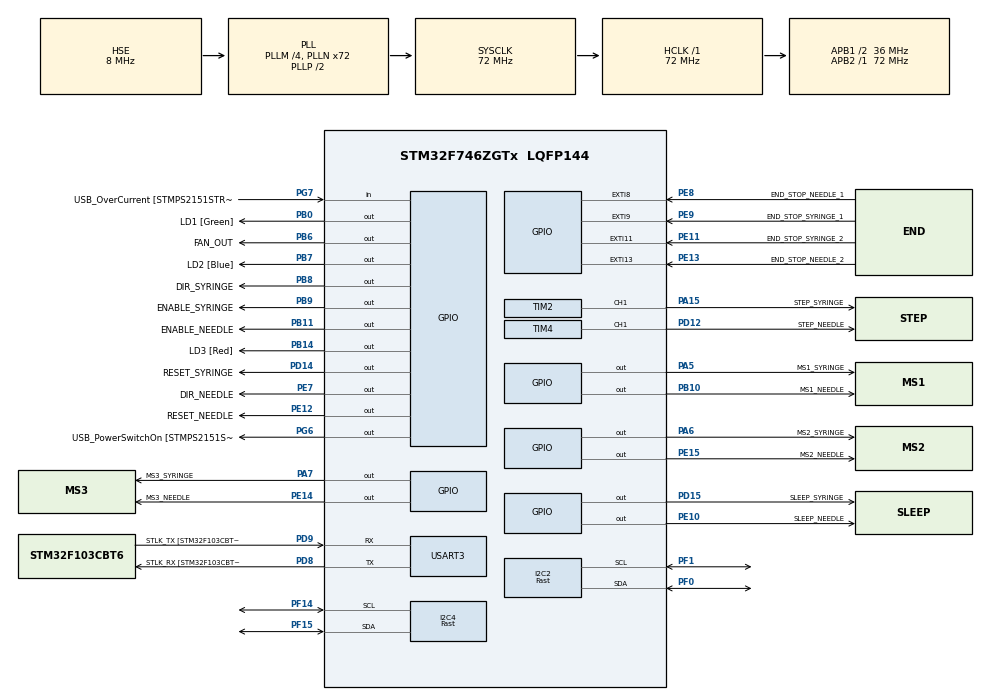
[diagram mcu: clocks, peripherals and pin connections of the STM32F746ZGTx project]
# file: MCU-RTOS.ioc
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FREERTOS.BinarySemaphores01=SyringeInfoOLEDSemaphore,Dynamic,NULL;NeedleInfoOLEDSemaphore,Dynamic,NULL;TemperatureInfoCommunicationSemaphore,Dynamic,NULL;SyringeInfoCommunicationSemaphore,Dynamic,NULL;NeedleInfoCommunicationSemaphore,Dynamic,NULL
FREERTOS.Mutexes01=MutexPrintf,Dynamic,NULL;MutexI2C2,Dynamic,NULL;MutexI2C4,Dynamic,NULL
FREERTOS.Queues01=QueueSyringeInfoOLED,4,Syringe_info,0,Dynamic,NULL,NULL;QueueSyringeInfoCommunication,2,Syringe_info,0,Dynamic,NULL,NULL;QueueNeedleInfoOLED,4,Needle_info,0,Dynamic,NULL,NULL;QueueNeedleInfoCommunication,4,Needle_info,0,Dynamic,NULL,NULL;QueueTemperatureCommunication,4,Temperature_info,0,Dynamic,NULL,NULL;QueueNeedleSetPointCommunication,4,uint16_t,0,Dynamic,NULL,NULL;QueueSyringeSetPointCommunication,4,uint16_t,0,Dynamic,NULL,NULL;QueueSyringePermission,2,uint8_t,0,Dynamic,NULL,NULL;QueueNeedlePermission,2,uint8_t,0,Dynamic,NULL,NULL;QueueCommunicationPermission,2,uint8_t,0,Dynamic,NULL,NULL;QueueSyringeSpeedRPM,2,uint16_t,0,Dynamic,NULL,NULL;QueueNeedleSpeedRPM,2,uint16_t,0,Dynamic,NULL,NULL;QueueMotorStatus,2,uint8_t,0,Dynamic,NULL,NULL
FREERTOS.Tasks01=HeartBeatTast,8,128,StartHeartBeatTast,Default,NULL,Dynamic,NULL,NULL;SyringeControlT,32,640,StartSyringeControlTask,Default,NULL,Dynamic,NULL,NULL;OLEDTask,24,512,StartOLEDTask,Default,NULL,Dynamic,NULL,NULL;NeedleControlTa,33,640,StartNeedleControlTask,Default,NULL,Dynamic,NULL,NULL;CommunicationTa,40,512,StartCommunicationTask,Default,NULL,Dynamic,NULL,NULL;TemperatureTask,25,256,StartTemperatureTask,Default,NULL,Dynamic,NULL,NULL
FREERTOS.Timers01=SyringeInfoTimerOLED,SyringeInfoTimerOLEDCallback,osTimerPeriodic,Default,NULL,Dynamic,NULL;NeedleInfoTimerOLED,NeedleInfoTimerOLEDCallback,osTimerPeriodic,Default,NULL,Dynamic,NULL;SyringeInfoTimerCommunication,SyringeInfoTimerCommunicationCallback,osTimerPeriodic,Default,NULL,Dynamic,NULL;NeedleInfoTimerCommunication,NeedleInfoTimerCommunicationCallback,osTimerPeriodic,Default,NULL,Dynamic,NULL;IDLETimeTimer,IDLETimeTimerCallback,osTimerPeriodic,Default,NULL,Dynamic,NULL;TemperatureInfoCommunicationTimer,TemperatureInfoCommunicationTimerCallback,osTimerPeriodic,Default,NULL,Dynamic,NULL
FREERTOS.configMINIMAL_STACK_SIZE=128
FREERTOS.configTOTAL_HEAP_SIZE=35000
FREERTOS.configUSE_IDLE_HOOK=1
FREERTOS.configUSE_NEWLIB_REENTRANT=1
I2C2.I2C_Speed_Mode=I2C_Fast
I2C2.Timing=0x00301739
I2C4.I2C_Speed_Mode=I2C_Fast
I2C4.Timing=0x00301739
Mcu.Family=STM32F7
Mcu.Name=STM32F746ZGTx
Mcu.Package=LQFP144
NVIC.EXTI15_10_IRQn=true\:5\:0\:false\:false\:true\:true\:true\:true\:true
NVIC.EXTI9_5_IRQn=true\:5\:0\:false\:false\:true\:true\:true\:true\:true
NVIC.PriorityGroup=NVIC_PRIORITYGROUP_4
NVIC.TIM3_IRQn=true\:5\:0\:false\:false\:true\:true\:true\:true\:true
NVIC.TIM5_IRQn=true\:5\:0\:false\:false\:true\:true\:true\:true\:true
NVIC.TIM8_TRG_COM_TIM14_IRQn=true\:15\:0\:false\:false\:true\:false\:false\:true\:true
NVIC.TimeBase=TIM8_TRG_COM_TIM14_IRQn
NVIC.TimeBaseIP=TIM14
NVIC.USART3_IRQn=true\:5\:0\:false\:false\:true\:true\:true\:true\:true
PA13.GPIO_Label=TMS
PA13.Mode=Serial_Wire
PA13.Signal=SYS_JTMS-SWDIO
PA14.GPIO_Label=TCK
PA14.Mode=Serial_Wire
PA14.Signal=SYS_JTCK-SWCLK
PA15.GPIO_Label=STEP_SYRINGE
PA15.Signal=S_TIM2_CH1_ETR
PA5.GPIO_Label=MS1_SYRINGE
PA5.GPIO_Speed=GPIO_SPEED_FREQ_HIGH
PA5.Signal=GPIO_Output
PA6.GPIO_Label=MS2_SYRINGE
PA6.GPIO_Speed=GPIO_SPEED_FREQ_HIGH
PA6.Signal=GPIO_Output
PA7.GPIO_Label=MS3_SYRINGE
PA7.GPIO_Speed=GPIO_SPEED_FREQ_HIGH
PA7.Signal=GPIO_Output
PB0.GPIO_Label=LD1 [Green]
PB0.Signal=GPIO_Output
PB10.GPIO_Label=MS1_NEEDLE
PB10.GPIO_Speed=GPIO_SPEED_FREQ_HIGH
PB10.Signal=GPIO_Output
PB11.GPIO_Label=ENABLE_NEEDLE
PB11.GPIO_Speed=GPIO_SPEED_FREQ_HIGH
PB11.Signal=GPIO_Output
PB14.GPIO_Label=LD3 [Red]
PB14.Signal=GPIO_Output
PB6.GPIO_Label=FAN_OUT
PB6.Signal=GPIO_Output
PB7.GPIO_Label=LD2 [Blue]
PB7.Signal=GPIO_Output
PB8.GPIO_Label=DIR_SYRINGE
PB8.GPIO_Speed=GPIO_SPEED_FREQ_HIGH
PB8.Signal=GPIO_Output
PB9.GPIO_Label=ENABLE_SYRINGE
PB9.GPIO_Speed=GPIO_SPEED_FREQ_HIGH
PB9.Signal=GPIO_Output
PC14/OSC32_IN.Mode=LSE-External-Oscillator
PC14/OSC32_IN.Signal=RCC_OSC32_IN
PC15/OSC32_OUT.Mode=LSE-External-Oscillator
PC15/OSC32_OUT.Signal=RCC_OSC32_OUT
PD12.GPIO_Label=STEP_NEEDLE
PD12.Signal=S_TIM4_CH1
PD14.GPIO_Label=RESET_SYRINGE
PD14.GPIO_Speed=GPIO_SPEED_FREQ_HIGH
PD14.Signal=GPIO_Output
PD15.GPIO_Label=SLEEP_SYRINGE
PD15.GPIO_Speed=GPIO_SPEED_FREQ_HIGH
PD15.Signal=GPIO_Output
PD8.GPIO_Label=STLK_RX [STM32F103CBT6_PA3]
PD8.Mode=Asynchronous
PD8.Signal=USART3_TX
PD9.GPIO_Label=STLK_TX [STM32F103CBT6_PA2]
PD9.Mode=Asynchronous
PD9.Signal=USART3_RX
PE10.GPIO_Label=SLEEP_NEEDLE
PE10.GPIO_Speed=GPIO_SPEED_FREQ_HIGH
PE10.Signal=GPIO_Output
PE11.GPIO_Label=END_STOP_SYRINGE_2
PE11.GPIO_ModeDefaultEXTI=GPIO_MODE_IT_FALLING
PE11.GPIO_PuPd=GPIO_PULLUP
PE11.Signal=GPXTI11
PE12.GPIO_Label=RESET_NEEDLE
PE12.GPIO_Speed=GPIO_SPEED_FREQ_HIGH
PE12.Signal=GPIO_Output
PE13.GPIO_Label=END_STOP_NEEDLE_2
PE13.GPIO_ModeDefaultEXTI=GPIO_MODE_IT_FALLING
PE13.GPIO_PuPd=GPIO_PULLUP
PE13.Signal=GPXTI13
PE14.GPIO_Label=MS3_NEEDLE
PE14.GPIO_Speed=GPIO_SPEED_FREQ_HIGH
PE14.Signal=GPIO_Output
PE15.GPIO_Label=MS2_NEEDLE
PE15.GPIO_Speed=GPIO_SPEED_FREQ_HIGH
PE15.Signal=GPIO_Output
PE7.GPIO_Label=DIR_NEEDLE
PE7.GPIO_Speed=GPIO_SPEED_FREQ_HIGH
PE7.Signal=GPIO_Output
PE8.GPIO_Label=END_STOP_NEEDLE_1
PE8.GPIO_ModeDefaultEXTI=GPIO_MODE_IT_FALLING
PE8.GPIO_PuPd=GPIO_PULLUP
PE8.Signal=GPXTI8
PE9.GPIO_Label=END_STOP_SYRINGE_1
PE9.GPIO_ModeDefaultEXTI=GPIO_MODE_IT_FALLING
PE9.GPIO_PuPd=GPIO_PULLUP
PE9.Signal=GPXTI9
PF0.Mode=I2C
PF0.Signal=I2C2_SDA
PF1.Mode=I2C
PF1.Signal=I2C2_SCL
PF14.Mode=I2C
PF14.Signal=I2C4_SCL
PF15.Mode=I2C
PF15.Signal=I2C4_SDA
PG6.GPIO_Label=USB_PowerSwitchOn [STMPS2151STR_EN]
PG6.Signal=GPIO_Output
PG7.GPIO_Label=USB_OverCurrent [STMPS2151STR_FAULT]
PG7.Signal=GPIO_Input
PH0/OSC_IN.GPIO_Label=MCO [STM32F103CBT6_PA8]
PH0/OSC_IN.Mode=HSE-External-Clock-Source
PH0/OSC_IN.Signal=RCC_OSC_IN
PH1/OSC_OUT.Mode=HSE-External-Clock-Source
PH1/OSC_OUT.Signal=RCC_OSC_OUT
ProjectManager.HeapSize=0x200
ProjectManager.StackSize=0x400
ProjectManager.TargetToolchain=STM32CubeIDE
RCC.48MHZClocksFreq_Value=24000000
RCC.AHBFreq_Value=72000000
RCC.APB1CLKDivider=RCC_HCLK_DIV2
RCC.APB1Freq_Value=36000000
RCC.APB1TimFreq_Value=72000000
RCC.APB2Freq_Value=72000000
RCC.APB2TimFreq_Value=72000000
RCC.CortexFreq_Value=72000000
RCC.HCLKFreq_Value=72000000
RCC.HSE_VALUE=8000000
RCC.HSI_VALUE=16000000
RCC.PLLM=4
RCC.PLLMUL=RCC_PLL_MUL9
RCC.PLLN=72
RCC.PLLQ=3
RCC.PLLSourceVirtual=RCC_PLLSOURCE_HSE
RCC.PRESCALERUSB=RCC_USBCLKSOURCE_PLL_DIV1_5
RCC.SYSCLKFreq_VALUE=72000000
RCC.SYSCLKSource=RCC_SYSCLKSOURCE_PLLCLK
RCC.SYSCLKSourceVirtual=RCC_SYSCLKSOURCE_PLLCLK
RCC.USBFreq_Value=48000000
RCC.VCOOutputFreq_Value=144000000
SH.S_TIM2_CH1_ETR.0=TIM2_CH1,PWM Generation1 CH1
SH.S_TIM4_CH1.0=TIM4_CH1,PWM Generation1 CH1
TIM2.Channel-PWM\ Generation1\ CH1=TIM_CHANNEL_1
TIM2.Period=999
TIM2.Prescaler=71
TIM2.Pulse-PWM\ Generation1\ CH1=499
TIM2.TIM_MasterOutputTrigger=TIM_TRGO_UPDATE
TIM3.Period=0
TIM4.Channel-PWM\ Generation1\ CH1=TIM_CHANNEL_1
TIM4.Period=999
TIM4.Prescaler=71
TIM4.Pulse-PWM\ Generation1\ CH1=499
TIM4.TIM_MasterOutputTrigger=TIM_TRGO_UPDATE
TIM5.Period=0
USART3.VirtualMode-Asynchronous=VM_ASYNC
VP_FREERTOS_VS_CMSIS_V2.Mode=CMSIS_V2
VP_SYS_VS_tim14.Mode=TIM14
VP_TIM2_VS_ClockSourceINT.Mode=Internal
VP_TIM3_VS_ClockSourceITR.Mode=TriggerSource_ITR1
VP_TIM3_VS_ControllerModeClock.Mode=Clock Mode
VP_TIM4_VS_ClockSourceINT.Mode=Internal
VP_TIM5_VS_ClockSourceITR.Mode=TriggerSource_ITR2
VP_TIM5_VS_ControllerModeClock.Mode=Clock Mode
board=NUCLEO-F746ZG

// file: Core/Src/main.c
/* USER CODE BEGIN Header */
/**
  ******************************************************************************
  * @file           : main.c
  * @brief          : Main program body
  ******************************************************************************
  * @attention
  *
  * Copyright (c) 2022 STMicroelectronics.
  * All rights reserved.
  *
  * This software is licensed under terms that can be found in the LICENSE file
  * in the root directory of this software component.
  * If no LICENSE file comes with this software, it is provided AS-IS.
  *
  ******************************************************************************
  */
/* USER CODE END Header */
#include "main.h"
#include "cmsis_os.h"
#include "i2c.h"
#include "tim.h"
#include "usart.h"
#include "gpio.h"

void SystemClock_Config(void);
void MX_FREERTOS_Init(void);

int main(void)
{

  /* MCU Configuration--------------------------------------------------------*/

  /* Reset of all peripherals, Initializes the Flash interface and the Systick. */
  HAL_Init();

  /* Configure the system clock */
  SystemClock_Config();

  /* Initialize all configured peripherals */
  MX_GPIO_Init();
  MX_USART3_UART_Init();
  MX_I2C2_Init();
  MX_I2C4_Init();
  MX_TIM2_Init();
  MX_TIM3_Init();
  MX_TIM4_Init();
  MX_TIM5_Init();

  /* Init scheduler */
  osKernelInitialize();  /* Call init function for freertos objects (in freertos.c) */
  MX_FREERTOS_Init();

  /* Start scheduler */
  osKernelStart();

  /* We should never get here as control is now taken by the scheduler */
  /* Infinite loop */
  while (1)
  {

  }
}

void SystemClock_Config(void)
{
  RCC_OscInitTypeDef RCC_OscInitStruct = {0};
  RCC_ClkInitTypeDef RCC_ClkInitStruct = {0};

  /** Configure LSE Drive Capability
  */
  HAL_PWR_EnableBkUpAccess();

  /** Configure the main internal regulator output voltage
  */
  __HAL_RCC_PWR_CLK_ENABLE();
  __HAL_PWR_VOLTAGESCALING_CONFIG(PWR_REGULATOR_VOLTAGE_SCALE3);

  /** Initializes the RCC Oscillators according to the specified parameters
  * in the RCC_OscInitTypeDef structure.
  */
  RCC_OscInitStruct.OscillatorType = RCC_OSCILLATORTYPE_HSE;
  RCC_OscInitStruct.HSEState = RCC_HSE_BYPASS;
  RCC_OscInitStruct.PLL.PLLState = RCC_PLL_ON;
  RCC_OscInitStruct.PLL.PLLSource = RCC_PLLSOURCE_HSE;
  RCC_OscInitStruct.PLL.PLLM = 4;
  RCC_OscInitStruct.PLL.PLLN = 72;
  RCC_OscInitStruct.PLL.PLLP = RCC_PLLP_DIV2;
  RCC_OscInitStruct.PLL.PLLQ = 3;
  if (HAL_RCC_OscConfig(&RCC_OscInitStruct) != HAL_OK)
  {
    Error_Handler();
  }

  /** Initializes the CPU, AHB and APB buses clocks
  */
  RCC_ClkInitStruct.ClockType = RCC_CLOCKTYPE_HCLK|RCC_CLOCKTYPE_SYSCLK
                              |RCC_CLOCKTYPE_PCLK1|RCC_CLOCKTYPE_PCLK2;
  RCC_ClkInitStruct.SYSCLKSource = RCC_SYSCLKSOURCE_PLLCLK;
  RCC_ClkInitStruct.AHBCLKDivider = RCC_SYSCLK_DIV1;
  RCC_ClkInitStruct.APB1CLKDivider = RCC_HCLK_DIV2;
  RCC_ClkInitStruct.APB2CLKDivider = RCC_HCLK_DIV1;

  if (HAL_RCC_ClockConfig(&RCC_ClkInitStruct, FLASH_LATENCY_2) != HAL_OK)
  {
    Error_Handler();
  }
}

void HAL_TIM_PeriodElapsedCallback(TIM_HandleTypeDef *htim)
{
  if (htim->Instance == TIM14) {
    HAL_IncTick();
  }
}

void Error_Handler(void)
{
  __disable_irq();
  while (1)
  {
  }
}

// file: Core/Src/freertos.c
/* USER CODE BEGIN Header */
/**
  ******************************************************************************
  * File Name          : freertos.c
  * Description        : Code for freertos applications
  ******************************************************************************
  * @attention
  *
  * Copyright (c) 2022 STMicroelectronics.
  * All rights reserved.
  *
  * This software is licensed under terms that can be found in the LICENSE file
  * in the root directory of this software component.
  * If no LICENSE file comes with this software, it is provided AS-IS.
  *
  ******************************************************************************
  */
/* USER CODE END Header */

#include "FreeRTOS.h"
#include "task.h"
#include "main.h"
#include "cmsis_os.h"

/* USER CODE BEGIN Includes */
// Motor drive
#include "A4988_Drive.h"
// Sensor
#include "VL6180X.h"
// Screen
#include "SSD1306_OLED.h"
#include "GFX_BW.h"
#include "fonts/fonts.h"
// Temperature sensor
#include "bmp280.h"
// printf external library
#include "printf.h"
// MCU libraries
#include "usart.h"
#include "i2c.h"
#include "tim.h"
// Standard library
#include "stdlib.h"
/* USER CODE END Includes */

/* USER CODE BEGIN PTD */
//
// Syringe info data structure for queue
//
typedef struct{
	uint16_t MEASURE_Syringe; // distance in mm
	uint16_t Set_distance_syringe; // distance in mm
}Syringe_info;
//
// Needle info data structure for queue
//
typedef struct{
	uint16_t MEASURE_Needle; // distance in mm
	uint16_t Set_distance_needle; // distance in mm
}Needle_info;
//
// Temperature info data structure for queue
//
typedef struct{
	float Temperature;
	uint8_t Fan_info;
}Temperature_info;
/* USER CODE END PTD */

/* USER CODE BEGIN PD */
//
// Direction control
//
#define FORWARD_NEEDLE 	RIGHT_DIR
#define BACK_NEEDLE 	LEFT_DIR
#define SUCK_SYRINGE	RIGHT_DIR
#define BLOW_SYRINGE	LEFT_DIR
//
// Control type
//
#define OPEN_LOOP 1
#define CLOSE_LOOP 2
/* USER CODE END PD */

/* USER CODE BEGIN Variables */
//
// Receive buffer
//
uint8_t Buffor_Rx_USART[4];
//
// Idle time
//
uint32_t IdleTicks;
/* USER CODE END Variables */
/* Definitions for HeartBeatTast */
osThreadId_t HeartBeatTastHandle;
const osThreadAttr_t HeartBeatTast_attributes = {
  .name = "HeartBeatTast",
  .stack_size = 128 * 4,
  .priority = (osPriority_t) osPriorityLow,
};
/* Definitions for SyringeControlT */
osThreadId_t SyringeControlTHandle;
const osThreadAttr_t SyringeControlT_attributes = {
  .name = "SyringeControlT",
  .stack_size = 640 * 4,
  .priority = (osPriority_t) osPriorityAboveNormal,
};
/* Definitions for OLEDTask */
osThreadId_t OLEDTaskHandle;
const osThreadAttr_t OLEDTask_attributes = {
  .name = "OLEDTask",
  .stack_size = 512 * 4,
  .priority = (osPriority_t) osPriorityNormal,
};
/* Definitions for NeedleControlTa */
osThreadId_t NeedleControlTaHandle;
const osThreadAttr_t NeedleControlTa_attributes = {
  .name = "NeedleControlTa",
  .stack_size = 640 * 4,
  .priority = (osPriority_t) osPriorityAboveNormal1,
};
/* Definitions for CommunicationTa */
osThreadId_t CommunicationTaHandle;
const osThreadAttr_t CommunicationTa_attributes = {
  .name = "CommunicationTa",
  .stack_size = 512 * 4,
  .priority = (osPriority_t) osPriorityHigh,
};
/* Definitions for TemperatureTask */
osThreadId_t TemperatureTaskHandle;
const osThreadAttr_t TemperatureTask_attributes = {
  .name = "TemperatureTask",
  .stack_size = 256 * 4,
  .priority = (osPriority_t) osPriorityNormal1,
};
/* Definitions for QueueSyringeInfoOLED */
osMessageQueueId_t QueueSyringeInfoOLEDHandle;
const osMessageQueueAttr_t QueueSyringeInfoOLED_attributes = {
  .name = "QueueSyringeInfoOLED"
};
/* Definitions for QueueSyringeInfoCommunication */
osMessageQueueId_t QueueSyringeInfoCommunicationHandle;
const osMessageQueueAttr_t QueueSyringeInfoCommunication_attributes = {
  .name = "QueueSyringeInfoCommunication"
};
/* Definitions for QueueNeedleInfoOLED */
osMessageQueueId_t QueueNeedleInfoOLEDHandle;
const osMessageQueueAttr_t QueueNeedleInfoOLED_attributes = {
  .name = "QueueNeedleInfoOLED"
};
/* Definitions for QueueNeedleInfoCommunication */
osMessageQueueId_t QueueNeedleInfoCommunicationHandle;
const osMessageQueueAttr_t QueueNeedleInfoCommunication_attributes = {
  .name = "QueueNeedleInfoCommunication"
};
/* Definitions for QueueTemperatureCommunication */
osMessageQueueId_t QueueTemperatureCommunicationHandle;
const osMessageQueueAttr_t QueueTemperatureCommunication_attributes = {
  .name = "QueueTemperatureCommunication"
};
/* Definitions for QueueNeedleSetPointCommunication */
osMessageQueueId_t QueueNeedleSetPointCommunicationHandle;
const osMessageQueueAttr_t QueueNeedleSetPointCommunication_attributes = {
  .name = "QueueNeedleSetPointCommunication"
};
/* Definitions for QueueSyringeSetPointCommunication */
osMessageQueueId_t QueueSyringeSetPointCommunicationHandle;
const osMessageQueueAttr_t QueueSyringeSetPointCommunication_attributes = {
  .name = "QueueSyringeSetPointCommunication"
};
/* Definitions for QueueSyringePermission */
osMessageQueueId_t QueueSyringePermissionHandle;
const osMessageQueueAttr_t QueueSyringePermission_attributes = {
  .name = "QueueSyringePermission"
};
/* Definitions for QueueNeedlePermission */
osMessageQueueId_t QueueNeedlePermissionHandle;
const osMessageQueueAttr_t QueueNeedlePermission_attributes = {
  .name = "QueueNeedlePermission"
};
/* Definitions for QueueCommunicationPermission */
osMessageQueueId_t QueueCommunicationPermissionHandle;
const osMessageQueueAttr_t QueueCommunicationPermission_attributes = {
  .name = "QueueCommunicationPermission"
};
/* Definitions for QueueSyringeSpeedRPM */
osMessageQueueId_t QueueSyringeSpeedRPMHandle;
const osMessageQueueAttr_t QueueSyringeSpeedRPM_attributes = {
  .name = "QueueSyringeSpeedRPM"
};
/* Definitions for QueueNeedleSpeedRPM */
osMessageQueueId_t QueueNeedleSpeedRPMHandle;
const osMessageQueueAttr_t QueueNeedleSpeedRPM_attributes = {
  .name = "QueueNeedleSpeedRPM"
};
/* Definitions for QueueMotorStatus */
osMessageQueueId_t QueueMotorStatusHandle;
const osMessageQueueAttr_t QueueMotorStatus_attributes = {
  .name = "QueueMotorStatus"
};
/* Definitions for SyringeInfoTimerOLED */
osTimerId_t SyringeInfoTimerOLEDHandle;
const osTimerAttr_t SyringeInfoTimerOLED_attributes = {
  .name = "SyringeInfoTimerOLED"
};
/* Definitions for NeedleInfoTimerOLED */
osTimerId_t NeedleInfoTimerOLEDHandle;
const osTimerAttr_t NeedleInfoTimerOLED_attributes = {
  .name = "NeedleInfoTimerOLED"
};
/* Definitions for SyringeInfoTimerCommunication */
osTimerId_t SyringeInfoTimerCommunicationHandle;
const osTimerAttr_t SyringeInfoTimerCommunication_attributes = {
  .name = "SyringeInfoTimerCommunication"
};
/* Definitions for NeedleInfoTimerCommunication */
osTimerId_t NeedleInfoTimerCommunicationHandle;
const osTimerAttr_t NeedleInfoTimerCommunication_attributes = {
  .name = "NeedleInfoTimerCommunication"
};
/* Definitions for IDLETimeTimer */
osTimerId_t IDLETimeTimerHandle;
const osTimerAttr_t IDLETimeTimer_attributes = {
  .name = "IDLETimeTimer"
};
/* Definitions for TemperatureInfoCommunicationTimer */
osTimerId_t TemperatureInfoCommunicationTimerHandle;
const osTimerAttr_t TemperatureInfoCommunicationTimer_attributes = {
  .name = "TemperatureInfoCommunicationTimer"
};
/* Definitions for MutexPrintf */
osMutexId_t MutexPrintfHandle;
const osMutexAttr_t MutexPrintf_attributes = {
  .name = "MutexPrintf"
};
/* Definitions for MutexI2C2 */
osMutexId_t MutexI2C2Handle;
const osMutexAttr_t MutexI2C2_attributes = {
  .name = "MutexI2C2"
};
/* Definitions for MutexI2C4 */
osMutexId_t MutexI2C4Handle;
const osMutexAttr_t MutexI2C4_attributes = {
  .name = "MutexI2C4"
};
/* Definitions for SyringeInfoOLEDSemaphore */
osSemaphoreId_t SyringeInfoOLEDSemaphoreHandle;
const osSemaphoreAttr_t SyringeInfoOLEDSemaphore_attributes = {
  .name = "SyringeInfoOLEDSemaphore"
};
/* Definitions for NeedleInfoOLEDSemaphore */
osSemaphoreId_t NeedleInfoOLEDSemaphoreHandle;
const osSemaphoreAttr_t NeedleInfoOLEDSemaphore_attributes = {
  .name = "NeedleInfoOLEDSemaphore"
};
/* Definitions for TemperatureInfoCommunicationSemaphore */
osSemaphoreId_t TemperatureInfoCommunicationSemaphoreHandle;
const osSemaphoreAttr_t TemperatureInfoCommunicationSemaphore_attributes = {
  .name = "TemperatureInfoCommunicationSemaphore"
};
/* Definitions for SyringeInfoCommunicationSemaphore */
osSemaphoreId_t SyringeInfoCommunicationSemaphoreHandle;
const osSemaphoreAttr_t SyringeInfoCommunicationSemaphore_attributes = {
  .name = "SyringeInfoCommunicationSemaphore"
};
/* Definitions for NeedleInfoCommunicationSemaphore */
osSemaphoreId_t NeedleInfoCommunicationSemaphoreHandle;
const osSemaphoreAttr_t NeedleInfoCommunicationSemaphore_attributes = {
  .name = "NeedleInfoCommunicationSemaphore"
};

/* USER CODE BEGIN FunctionPrototypes */
//
// printf function prototype
//
void _putchar(char character);
/* USER CODE END FunctionPrototypes */

void StartHeartBeatTast(void *argument);
void StartSyringeControlTask(void *argument);
void StartOLEDTask(void *argument);
void StartNeedleControlTask(void *argument);
void StartCommunicationTask(void *argument);
void StartTemperatureTask(void *argument);
void SyringeInfoTimerOLEDCallback(void *argument);
void NeedleInfoTimerOLEDCallback(void *argument);
void SyringeInfoTimerCommunicationCallback(void *argument);
void NeedleInfoTimerCommunicationCallback(void *argument);
void IDLETimeTimerCallback(void *argument);
void TemperatureInfoCommunicationTimerCallback(void *argument);

void MX_FREERTOS_Init(void); /* (MISRA C 2004 rule 8.1) */

/* Hook prototypes */
void vApplicationIdleHook(void);

/* USER CODE BEGIN 2 */
void vApplicationIdleHook( void )
{
   /* vApplicationIdleHook() will only be called if configUSE_IDLE_HOOK is set
   to 1 in FreeRTOSConfig.h. It will be called on each iteration of the idle
   task. It is essential that code added to this hook function never attempts
   to block in any way (for example, call xQueueReceive() with a block time
   specified, or call vTaskDelay()). If the application makes use of the
   vTaskDelete() API function (as this demo application does) then it is also
   important that vApplicationIdleHook() is permitted to return to its calling
   function, because it is the responsibility of the idle task to clean up
   memory allocated by the kernel to any task that has since been deleted. */

	static uint32_t LastTick;

	if(LastTick < osKernelGetTickCount()){
		IdleTicks++;
		LastTick = osKernelGetTickCount();
	}
}
/* USER CODE END 2 */

void MX_FREERTOS_Init(void) {
  /* Create the mutex(es) */
  /* creation of MutexPrintf */
  MutexPrintfHandle = osMutexNew(&MutexPrintf_attributes);

  /* creation of MutexI2C2 */
  MutexI2C2Handle = osMutexNew(&MutexI2C2_attributes);

  /* creation of MutexI2C4 */
  MutexI2C4Handle = osMutexNew(&MutexI2C4_attributes);

  /* Create the semaphores(s) */
  /* creation of SyringeInfoOLEDSemaphore */
  SyringeInfoOLEDSemaphoreHandle = osSemaphoreNew(1, 1, &SyringeInfoOLEDSemaphore_attributes);

  /* creation of NeedleInfoOLEDSemaphore */
  NeedleInfoOLEDSemaphoreHandle = osSemaphoreNew(1, 1, &NeedleInfoOLEDSemaphore_attributes);

  /* creation of TemperatureInfoCommunicationSemaphore */
  TemperatureInfoCommunicationSemaphoreHandle = osSemaphoreNew(1, 1, &TemperatureInfoCommunicationSemaphore_attributes);

  /* creation of SyringeInfoCommunicationSemaphore */
  SyringeInfoCommunicationSemaphoreHandle = osSemaphoreNew(1, 1, &SyringeInfoCommunicationSemaphore_attributes);

  /* creation of NeedleInfoCommunicationSemaphore */
  NeedleInfoCommunicationSemaphoreHandle = osSemaphoreNew(1, 1, &NeedleInfoCommunicationSemaphore_attributes);

  /* Create the timer(s) */
  /* creation of SyringeInfoTimerOLED */
  SyringeInfoTimerOLEDHandle = osTimerNew(SyringeInfoTimerOLEDCallback, osTimerPeriodic, NULL, &SyringeInfoTimerOLED_attributes);

  /* creation of NeedleInfoTimerOLED */
  NeedleInfoTimerOLEDHandle = osTimerNew(NeedleInfoTimerOLEDCallback, osTimerPeriodic, NULL, &NeedleInfoTimerOLED_attributes);

  /* creation of SyringeInfoTimerCommunication */
  SyringeInfoTimerCommunicationHandle = osTimerNew(SyringeInfoTimerCommunicationCallback, osTimerPeriodic, NULL, &SyringeInfoTimerCommunication_attributes);

  /* creation of NeedleInfoTimerCommunication */
  NeedleInfoTimerCommunicationHandle = osTimerNew(NeedleInfoTimerCommunicationCallback, osTimerPeriodic, NULL, &NeedleInfoTimerCommunication_attributes);

  /* creation of IDLETimeTimer */
  IDLETimeTimerHandle = osTimerNew(IDLETimeTimerCallback, osTimerPeriodic, NULL, &IDLETimeTimer_attributes);

  /* creation of TemperatureInfoCommunicationTimer */
  TemperatureInfoCommunicationTimerHandle = osTimerNew(TemperatureInfoCommunicationTimerCallback, osTimerPeriodic, NULL, &TemperatureInfoCommunicationTimer_attributes);

  /* Create the queue(s) */
  /* creation of QueueSyringeInfoOLED */
  QueueSyringeInfoOLEDHandle = osMessageQueueNew (4, sizeof(Syringe_info), &QueueSyringeInfoOLED_attributes);

  /* creation of QueueSyringeInfoCommunication */
  QueueSyringeInfoCommunicationHandle = osMessageQueueNew (2, sizeof(Syringe_info), &QueueSyringeInfoCommunication_attributes);

  /* creation of QueueNeedleInfoOLED */
  QueueNeedleInfoOLEDHandle = osMessageQueueNew (4, sizeof(Needle_info), &QueueNeedleInfoOLED_attributes);

  /* creation of QueueNeedleInfoCommunication */
  QueueNeedleInfoCommunicationHandle = osMessageQueueNew (4, sizeof(Needle_info), &QueueNeedleInfoCommunication_attributes);

  /* creation of QueueTemperatureCommunication */
  QueueTemperatureCommunicationHandle = osMessageQueueNew (4, sizeof(Temperature_info), &QueueTemperatureCommunication_attributes);

  /* creation of QueueNeedleSetPointCommunication */
  QueueNeedleSetPointCommunicationHandle = osMessageQueueNew (4, sizeof(uint16_t), &QueueNeedleSetPointCommunication_attributes);

  /* creation of QueueSyringeSetPointCommunication */
  QueueSyringeSetPointCommunicationHandle = osMessageQueueNew (4, sizeof(uint16_t), &QueueSyringeSetPointCommunication_attributes);

  /* creation of QueueSyringePermission */
  QueueSyringePermissionHandle = osMessageQueueNew (2, sizeof(uint8_t), &QueueSyringePermission_attributes);

  /* creation of QueueNeedlePermission */
  QueueNeedlePermissionHandle = osMessageQueueNew (2, sizeof(uint8_t), &QueueNeedlePermission_attributes);

  /* creation of QueueCommunicationPermission */
  QueueCommunicationPermissionHandle = osMessageQueueNew (2, sizeof(uint8_t), &QueueCommunicationPermission_attributes);

  /* creation of QueueSyringeSpeedRPM */
  QueueSyringeSpeedRPMHandle = osMessageQueueNew (2, sizeof(uint16_t), &QueueSyringeSpeedRPM_attributes);

  /* creation of QueueNeedleSpeedRPM */
  QueueNeedleSpeedRPMHandle = osMessageQueueNew (2, sizeof(uint16_t), &QueueNeedleSpeedRPM_attributes);

  /* creation of QueueMotorStatus */
  QueueMotorStatusHandle = osMessageQueueNew (2, sizeof(uint8_t), &QueueMotorStatus_attributes);

  /* Create the thread(s) */
  /* creation of HeartBeatTast */
  HeartBeatTastHandle = osThreadNew(StartHeartBeatTast, NULL, &HeartBeatTast_attributes);

  /* creation of SyringeControlT */
  SyringeControlTHandle = osThreadNew(StartSyringeControlTask, NULL, &SyringeControlT_attributes);

  /* creation of OLEDTask */
  OLEDTaskHandle = osThreadNew(StartOLEDTask, NULL, &OLEDTask_attributes);

  /* creation of NeedleControlTa */
  NeedleControlTaHandle = osThreadNew(StartNeedleControlTask, NULL, &NeedleControlTa_attributes);

  /* creation of CommunicationTa */
  CommunicationTaHandle = osThreadNew(StartCommunicationTask, NULL, &CommunicationTa_attributes);

  /* creation of TemperatureTask */
  TemperatureTaskHandle = osThreadNew(StartTemperatureTask, NULL, &TemperatureTask_attributes);

}

/* USER CODE BEGIN Header_StartHeartBeatTast */
/**
  * @brief  Main basic function informing about MCU work.
  * @priority: Low
  * @param  argument: Not used
  * @retval None
  */
/* USER CODE END Header_StartHeartBeatTast */
void StartHeartBeatTast(void *argument)
{
  /* USER CODE BEGIN StartHeartBeatTast */
	osTimerStart(IDLETimeTimerHandle, 1000);
  /* Infinite loop */
  for(;;)
  {
	  HAL_GPIO_TogglePin(LD1_GPIO_Port, LD1_Pin);
	  osDelay((1000 * osKernelGetTickFreq()) / 1000);
  }
  /* USER CODE END StartHeartBeatTast */
}

/* USER CODE BEGIN Header_StartSyringeControlTask */
/**
* @brief Function implementing the SyringeControlTask thread.
* @priority: Above normal
* @param argument: Not used
* @retval None
*/
/* USER CODE END Header_StartSyringeControlTask */
void StartSyringeControlTask(void *argument)
{
  /* USER CODE BEGIN StartSyringeControlTask */
	//
	// Motor controllers
	//
	A4988_Drive Syringe = {	.NAME = "SYRINGE",
							.STEPS = 200,
							.RESOLUTION = HALF_STEP,
							.PORT_DIR = DIR_SYRINGE_GPIO_Port,
							.PIN_DIR = DIR_SYRINGE_Pin,
							.PORT_ENABLE = ENABLE_SYRINGE_GPIO_Port,
							.PIN_ENABLE = ENABLE_SYRINGE_Pin,
							.PORT_MS1 = MS1_SYRINGE_GPIO_Port,
							.PIN_MS1 = MS1_SYRINGE_Pin,
							.PORT_MS2 = MS2_SYRINGE_GPIO_Port,
							.PIN_MS2 = MS2_SYRINGE_Pin,
							.PORT_MS3 = MS3_SYRINGE_GPIO_Port,
							.PIN_MS3 = MS3_SYRINGE_Pin,
							.STEP_mm_RESOLUTION = 0.01,
							.PORT_RESET = RESET_SYRINGE_GPIO_Port,
							.PIN_RESET = RESET_SYRINGE_Pin,
							.PORT_SLEEP = SLEEP_SYRINGE_GPIO_Port,
							.PIN_SLEEP = SLEEP_SYRINGE_Pin,
							.TIM_STEP = &htim2,
							.TIM_STEP_CHANNEL = TIM_CHANNEL_1,
							.TIM_COUNTER_SLAVE = &htim3
							};
	uint16_t Syringe_speed_rmp;
	//
	// Distance Sensors
	//
	VL6180X_ Syringe_sensor;
	//
	// Queue info
	//
	Syringe_info _Syringe_info;
	uint16_t syringe_setpoint_change;
	uint8_t _Permission;
	_Permission = 0;
	//
	// Initialization
	//
	Init_A4988(&Syringe); // Drive initialization
	Set_Speed(&Syringe, 100); // Base speed TODO check
	HAL_TIM_Base_Stop_IT(Syringe.TIM_COUNTER_SLAVE);

	osMutexAcquire(MutexI2C4Handle, osWaitForever);
	VL6180X_Init(&Syringe_sensor, &hi2c4); // Sensor initialization
	configureDefault_VL6180X(&Syringe_sensor); // Sensor initialization
	osMutexRelease(MutexI2C4Handle);

	osMutexAcquire(MutexI2C4Handle, osWaitForever);
	_Syringe_info.MEASURE_Syringe = readRangeSingleMillimeters_VL6180X(&Syringe_sensor); // Initial measurement
	_Syringe_info.Set_distance_syringe = _Syringe_info.MEASURE_Syringe;
	osMutexRelease(MutexI2C4Handle);

	//
	// Timers
	//
	osTimerStart(SyringeInfoTimerOLEDHandle, (550 * osKernelGetTickFreq()) / 1000 ); // OLED Timer
	osTimerStart(SyringeInfoTimerCommunicationHandle, (550 * osKernelGetTickFreq()) / 1000 ); // Communication Timer

  /* Infinite loop */
  for(;;)
  {
	  //
	  // Get data
	  //
	  // Get SetPoint
	  if(osOK == osMessageQueueGet(QueueSyringeSetPointCommunicationHandle, &syringe_setpoint_change, NULL, 0)){
		  _Syringe_info.Set_distance_syringe = syringe_setpoint_change;
	  }
	  // Get permission
	  osMessageQueueGet(QueueSyringePermissionHandle, &_Permission, NULL, 0);
	  // Get Speed in rpm
	  if(osOK == osMessageQueueGet(QueueSyringeSpeedRPMHandle, &Syringe_speed_rmp, NULL, 0)){
		  Set_Speed(&Syringe, Syringe_speed_rmp);
	  }

	  //
	  // Read measurement from sensor
	  //
	  osMutexAcquire(MutexI2C4Handle, osWaitForever);
	  _Syringe_info.MEASURE_Syringe = readRangeSingleMillimeters_VL6180X(&Syringe_sensor); // Measurement
	  osMutexRelease(MutexI2C4Handle);

	  //
	  // Send data to queue
	  //
	  if (osOK == osSemaphoreAcquire(SyringeInfoCommunicationSemaphoreHandle, 0)){ // Send to communication
		  osMessageQueuePut(QueueSyringeInfoCommunicationHandle, &_Syringe_info, 0, osWaitForever);
	  }
	  if (osOK == osSemaphoreAcquire(SyringeInfoOLEDSemaphoreHandle, 0)) { // Send to OLED
	  		osMessageQueuePut(QueueSyringeInfoOLEDHandle, &_Syringe_info, 0, osWaitForever);
	  }

	  //
	  // Control algorithm
	  //
	  if(_Permission == 1){ //TODO change to 1
	  	  // TODO implement
//		  ////////////////////////////////////////////////////////////////////////////
		  // Algorytm oparty o uśrednienie tablicy
		  uint16_t tab[2];
		  tab[0] = readRangeSingleMillimeters_VL6180X(&Syringe_sensor);
		  tab[1] = readRangeSingleMillimeters_VL6180X(&Syringe_sensor);
		  uint16_t mes = (tab[0]+tab[1])/2;
		  if(mes == _Syringe_info.Set_distance_syringe || ((mes > _Syringe_info.Set_distance_syringe*0.99) &&
				  (mes > _Syringe_info.Set_distance_syringe*1.01))){
			  HAL_TIM_PWM_Stop(Syringe.TIM_STEP, Syringe.TIM_STEP_CHANNEL);
		  }
		  else if(mes > _Syringe_info.Set_distance_syringe){ //strzykawka jedzie do przodu
			  Set_Direction_A4988(&Syringe, LEFT_DIR); //TODO chceck
			  HAL_TIM_PWM_Start(Syringe.TIM_STEP, Syringe.TIM_STEP_CHANNEL);
		  }else if(mes < _Syringe_info.Set_distance_syringe){
			  Set_Direction_A4988(&Syringe, RIGHT_DIR); //TODO chceck
			  HAL_TIM_PWM_Start(Syringe.TIM_STEP, Syringe.TIM_STEP_CHANNEL);
		  }
//	  /////////////////////////////////////////////////////////////////////////////////
		  // Algorytm oparty o pomiar początkowy
		  if(_Syringe_info.MEASURE_Syringe == _Syringe_info.Set_distance_syringe || ((_Syringe_info.MEASURE_Syringe > _Syringe_info.Set_distance_syringe*0.99) &&
				  	  (_Syringe_info.MEASURE_Syringe > _Syringe_info.Set_distance_syringe*1.01))){
			  HAL_TIM_PWM_Stop(Syringe.TIM_STEP, Syringe.TIM_STEP_CHANNEL);
		  }
		  else if(_Syringe_info.MEASURE_Syringe > _Syringe_info.Set_distance_syringe){ //strzykawka jedzie do przodu
			  Set_Direction_A4988(&Syringe, LEFT_DIR); //TODO chceck
			  HAL_TIM_PWM_Start(Syringe.TIM_STEP, Syringe.TIM_STEP_CHANNEL);
		  }else if(_Syringe_info.MEASURE_Syringe < _Syringe_info.Set_distance_syringe){
			  Set_Direction_A4988(&Syringe, RIGHT_DIR); //TODO chceck
			  HAL_TIM_PWM_Start(Syringe.TIM_STEP, Syringe.TIM_STEP_CHANNEL);
		  }
	  }

	  //
	  // Time interval
	  //
	  osDelay((200 * osKernelGetTickFreq()) / 1000);
  }
  /* USER CODE END StartSyringeControlTask */
}

/* USER CODE BEGIN Header_StartOLEDTask */
/**
* @brief OLED screen print
* @priority: Below normal
* @param argument: Not used
* @retval None
*/
/* USER CODE END Header_StartOLEDTask */
void StartOLEDTask(void *argument)
{
  /* USER CODE BEGIN StartOLEDTask */
	//
	// Info data initialization
	//
	char Message_OLED[32]; // Message buffer
	Syringe_info _Syringe_info;
	Needle_info _Needle_info;
	_Needle_info.Set_distance_needle = 0;
	_Needle_info.MEASURE_Needle = 0;
	_Syringe_info.Set_distance_syringe = 0;
	_Syringe_info.MEASURE_Syringe = 0;

	//
	// Screen initialization
	//
	osMutexAcquire(MutexI2C4Handle, osWaitForever);
	SSD1306_Init(&hi2c4);
	osMutexRelease(MutexI2C4Handle);

	GFX_SetFont(font_8x5);
	GFX_SetFontSize(1);

	SSD1306_Clear(BLACK);

	osMutexAcquire(MutexI2C4Handle, osWaitForever);
	SSD1306_Display();
	osMutexRelease(MutexI2C4Handle);
  /* Infinite loop */
  for(;;)
  {
	  //
	  // Get data from queues
	  //
	  // Get data from Syringe info queue
	  osMessageQueueGet(QueueSyringeInfoOLEDHandle, &_Syringe_info, NULL, 0);
	  // Get data from Needle info queue
	  osMessageQueueGet(QueueNeedleInfoOLEDHandle, &_Needle_info, NULL, 0);

	  //
	  // Make message
	  //
	  SSD1306_Clear(BLACK);
	  sprintf(Message_OLED, "Needle position");
	  GFX_DrawString(20, 0, Message_OLED, WHITE, 0);
	  GFX_DrawLine(0, 9, 128, 9, WHITE);
	  sprintf(Message_OLED, "Set: %d mm", _Needle_info.Set_distance_needle); //Set_distance_needle
	  GFX_DrawString(0, 12, Message_OLED, WHITE, 0);
	  sprintf(Message_OLED, "Measure: %d mm", _Needle_info.MEASURE_Needle); //MEASURE_Needle
	  GFX_DrawString(0, 22, Message_OLED, WHITE, 0);
	  sprintf(Message_OLED, "Syringe position");
	  GFX_DrawString(15, 32, Message_OLED, WHITE, 0);
	  GFX_DrawLine(0, 41, 128, 41, WHITE);
	  sprintf(Message_OLED, "Set: %d mm", _Syringe_info.Set_distance_syringe); //Set_distance_syringe
	  GFX_DrawString(0, 44, Message_OLED, WHITE, 0);
	  sprintf(Message_OLED, "Measure: %d mm", _Syringe_info.MEASURE_Syringe); //MEASURE_Syringe
	  GFX_DrawString(0, 54, Message_OLED, WHITE, 0);

	  //
	  // Display
	  //
	  osMutexAcquire(MutexI2C4Handle, osWaitForever);
	  SSD1306_Display();
	  osMutexRelease(MutexI2C4Handle);

	  //
	  // Time interval
	  //
	  osDelay((450 * osKernelGetTickFreq()) / 1000);
  }
  /* USER CODE END StartOLEDTask */
}

/* USER CODE BEGIN Header_StartNeedleControlTask */
/**
* @brief Function implementing the NeedleControlTask thread.
* @priority: Above normal 1
* @param argument: Not used
* @retval None
*/
/* USER CODE END Header_StartNeedleControlTask */
void StartNeedleControlTask(void *argument)
{
  /* USER CODE BEGIN StartNeedleControlTask */
	//
	// Motor controllers
	//
	A4988_Drive Needle = {	.NAME = "NEEDLE",
							.STEPS = 200,
							.RESOLUTION = HALF_STEP,
							.STEP_mm_RESOLUTION = 0.005,
							.PORT_DIR = DIR_NEEDLE_GPIO_Port,
							.PIN_DIR = DIR_NEEDLE_Pin,
							.PORT_ENABLE = ENABLE_NEEDLE_GPIO_Port,
							.PIN_ENABLE = ENABLE_NEEDLE_Pin,
							.PORT_MS1 = MS1_NEEDLE_GPIO_Port,
							.PIN_MS1 = MS1_NEEDLE_Pin,
							.PORT_MS2 = MS2_NEEDLE_GPIO_Port,
							.PIN_MS2 = MS2_NEEDLE_Pin,
							.PORT_MS3 = MS3_NEEDLE_GPIO_Port,
							.PIN_MS3 = MS3_NEEDLE_Pin,
							.PORT_RESET = RESET_NEEDLE_GPIO_Port,
							.PIN_RESET = RESET_NEEDLE_Pin,
							.PORT_SLEEP = SLEEP_NEEDLE_GPIO_Port,
							.PIN_SLEEP = SLEEP_NEEDLE_Pin,
							.TIM_STEP = &htim4,
							.TIM_STEP_CHANNEL = TIM_CHANNEL_1,
							.TIM_COUNTER_SLAVE = &htim5
							};
	uint16_t Needle_speed_rmp;
	//
	// Distance Sensors
	//
	VL6180X_ Needle_sensor;
	//
	// Queue info
	//
	Needle_info _Needle_info;
	uint16_t needle_setpoint_change;
	uint8_t _Permission;
	_Needle_info.MEASURE_Needle = 10;
	_Needle_info.Set_distance_needle = 20;
	_Permission = 0;
	//
	// Initialization
	//
	Init_A4988(&Needle); // Drive initialization
	Set_Speed(&Needle, 100);
	HAL_TIM_Base_Stop_IT(Needle.TIM_COUNTER_SLAVE);

	osMutexAcquire(MutexI2C2Handle, osWaitForever);
	VL6180X_Init(&Needle_sensor, &hi2c2); // Sensor initialization
	configureDefault_VL6180X(&Needle_sensor); // Sensor initialization
	osMutexRelease(MutexI2C2Handle);

	osMutexAcquire(MutexI2C2Handle, osWaitForever);
	_Needle_info.MEASURE_Needle = readRangeSingleMillimeters_VL6180X(&Needle_sensor); // Initial measurement
	_Needle_info.Set_distance_needle = _Needle_info.MEASURE_Needle;
	osMutexRelease(MutexI2C2Handle);

	//
	// Timers
	//
	osTimerStart(NeedleInfoTimerOLEDHandle, (550 * osKernelGetTickFreq()) / 1000 ); // OLED Timer
	osTimerStart(NeedleInfoTimerCommunicationHandle, (550 * osKernelGetTickFreq()) / 1000 ); // Communication Timer
  /* Infinite loop */
  for(;;)
  {
	  //
	  // Get Data
	  //
	  // Get set point
	  if(osOK == osMessageQueueGet(QueueNeedleSetPointCommunicationHandle, &needle_setpoint_change, NULL, 0)){
		  _Needle_info.Set_distance_needle = needle_setpoint_change;
	  }
	  // Get permission
	  osMessageQueueGet(QueueNeedlePermissionHandle, &_Permission, NULL, 0);
	  // Get Speed in rpm
	  if(osOK == osMessageQueueGet(QueueNeedleSpeedRPMHandle, &Needle_speed_rmp, NULL, 0)){
		  Set_Speed(&Needle, Needle_speed_rmp);
	  }

	  //
	  // Read measurement from sensor
	  //
	  osMutexAcquire(MutexI2C2Handle, osWaitForever);
	  _Needle_info.MEASURE_Needle = readRangeSingleMillimeters_VL6180X(&Needle_sensor); // Measurement
	  osMutexRelease(MutexI2C2Handle);

	  //
	  // Send data to queue
	  //
	  if (osOK == osSemaphoreAcquire(NeedleInfoCommunicationSemaphoreHandle, 0)){ // Send to communication
		  osMessageQueuePut(QueueNeedleInfoCommunicationHandle, &_Needle_info, 0, osWaitForever);
	  }
	  if (osOK == osSemaphoreAcquire(NeedleInfoOLEDSemaphoreHandle, 0)) { // Send to OLED
		  osMessageQueuePut(QueueNeedleInfoOLEDHandle, &_Needle_info, 0, osWaitForever);
	  }

	  //
	  // Control algorithm
	  //
	  if(_Permission == 1){
	  	  // TODO implement
	  }
	  //
	  // Time interval
	  //
	  osDelay((200 * osKernelGetTickFreq()) / 1000);
  }
  /* USER CODE END StartNeedleControlTask */
}

void StartCommunicationTask(void *argument)
{
  /* USER CODE BEGIN StartCommunicationTask */
	//
	// Time interval
	//
	uint32_t DelayTick = osKernelGetTickCount();

	//
	//Receive data
	//
	HAL_UART_Receive_IT(&huart3, Buffor_Rx_USART, 4);

	//
	// Info data initialization
	//
	Syringe_info _Syringe_info;
	Needle_info _Needle_info;
	Temperature_info _Temperature_info;
	uint8_t _Permission;
	uint8_t _Motor_status;
	_Needle_info.Set_distance_needle = 0;
	_Needle_info.MEASURE_Needle = 0;
	_Syringe_info.Set_distance_syringe = 0;
	_Syringe_info.MEASURE_Syringe = 0;
	_Temperature_info.Fan_info = 0;
	_Temperature_info.Temperature = 0;
	_Permission = 0;
	_Motor_status = 0;

  /* Infinite loop */
  for(;;)
  {
	  //
	  // Get data
	  //
	  // Get data from Syringe info queue
	  osMessageQueueGet(QueueSyringeInfoCommunicationHandle, &_Syringe_info, NULL, 0);
	  // Get data from Needle info queue
	  osMessageQueueGet(QueueNeedleInfoCommunicationHandle, &_Needle_info, NULL, 0);
	  // Get data from Temperature info queue
	  osMessageQueueGet(QueueTemperatureCommunicationHandle, &_Temperature_info, NULL, 0);
	  // Get permission
	  osMessageQueueGet(QueueCommunicationPermissionHandle, &_Permission, NULL, 0);
	  // Get status on Motors
	  osMessageQueueGet(QueueMotorStatusHandle, &_Motor_status, NULL, 0);

	  //
	  // Send message
	  //
	  if(_Permission == 1){
		  if(_Motor_status == 0){
			  printf("{\"NP\":%d,\"SP\":%d,\"NS\":%d,\"SS\":%d,\"TM\":%.1f,\"FN\":%d,\"ST\":%d}\r\n",_Needle_info.MEASURE_Needle,
					  _Syringe_info.MEASURE_Syringe,_Needle_info.Set_distance_needle,_Syringe_info.Set_distance_syringe,_Temperature_info.Temperature,
					  _Temperature_info.Fan_info,1);
		  }else{
			  printf("{\"NP\":%d,\"SP\":%d,\"NS\":%d,\"SS\":%d,\"TM\":%.1f,\"FN\":%d,\"ST\":%d}\r\n",_Needle_info.MEASURE_Needle,
			  					  _Syringe_info.MEASURE_Syringe,_Needle_info.Set_distance_needle,_Syringe_info.Set_distance_syringe,_Temperature_info.Temperature,
			  					  _Temperature_info.Fan_info,0);
		  }
	  }

	  //
	  // Time interval
	  //
	  DelayTick += 500;
	  osDelayUntil(DelayTick);
  }
  /* USER CODE END StartCommunicationTask */
}

void StartTemperatureTask(void *argument)
{
  /* USER CODE BEGIN StartTemperatureTask */
	//
	// Info data initialization
	//
	Temperature_info _Temperature_info;
	_Temperature_info.Fan_info = 0;
	_Temperature_info.Temperature = 10;

	BMP280_t Bmp280;

	//
	// Initialize the sensor
	//
	osMutexAcquire(MutexI2C2Handle, osWaitForever);
	BMP280_Init(&Bmp280, &hi2c2, 0x76);
	osMutexRelease(MutexI2C2Handle);

	//
	// Initial measurement
	//
	osMutexAcquire(MutexI2C2Handle, osWaitForever);
	_Temperature_info.Temperature = BMP280_ReadTemperature(&Bmp280);
	osMutexRelease(MutexI2C2Handle);

	//
	// Timer start
	//
	osTimerStart(TemperatureInfoCommunicationTimerHandle, (1000 * osKernelGetTickFreq()) / 1000 ); // Communication Timer

	/* Infinite loop */
  for(;;)
  {
	  //
	  // Measurement
	  //
	  osMutexAcquire(MutexI2C2Handle, osWaitForever);
	  _Temperature_info.Temperature = BMP280_ReadTemperature(&Bmp280);
	  if(_Temperature_info.Temperature < 0 ){
		  _Temperature_info.Temperature = BMP280_ReadTemperature(&Bmp280);
	  }
	  osMutexRelease(MutexI2C2Handle);
	  //
	  // Fan functioning
	  //
	  if (_Temperature_info.Temperature >= 31.0) {
		  HAL_GPIO_WritePin(FAN_OUT_GPIO_Port, FAN_OUT_Pin, GPIO_PIN_SET);
		  _Temperature_info.Fan_info = 1;
	  }else{
		  HAL_GPIO_WritePin(FAN_OUT_GPIO_Port, FAN_OUT_Pin, GPIO_PIN_RESET);
		  _Temperature_info.Fan_info = 0;
	  }

	  //
	  // Send to queue
	  //
	  if(osOK == osSemaphoreAcquire(TemperatureInfoCommunicationSemaphoreHandle, 0)){
		  osMessageQueuePut(QueueTemperatureCommunicationHandle, &_Temperature_info, 0, osWaitForever);
	  }

	  //
	  // Time interval
	  //
	  osDelay((1000 * osKernelGetTickFreq()) / 1000);
  }
  /* USER CODE END StartTemperatureTask */
}

/* SyringeInfoTimerOLEDCallback function */
void SyringeInfoTimerOLEDCallback(void *argument)
{
  /* USER CODE BEGIN SyringeInfoTimerOLEDCallback */
	osSemaphoreRelease(SyringeInfoOLEDSemaphoreHandle);
  /* USER CODE END SyringeInfoTimerOLEDCallback */
}

/* NeedleInfoTimerOLEDCallback function */
void NeedleInfoTimerOLEDCallback(void *argument)
{
  /* USER CODE BEGIN NeedleInfoTimerOLEDCallback */
	osSemaphoreRelease(NeedleInfoOLEDSemaphoreHandle);
  /* USER CODE END NeedleInfoTimerOLEDCallback */
}

/* SyringeInfoTimerCommunicationCallback function */
void SyringeInfoTimerCommunicationCallback(void *argument)
{
  /* USER CODE BEGIN SyringeInfoTimerCommunicationCallback */
	osSemaphoreRelease(SyringeInfoCommunicationSemaphoreHandle);
  /* USER CODE END SyringeInfoTimerCommunicationCallback */
}

/* NeedleInfoTimerCommunicationCallback function */
void NeedleInfoTimerCommunicationCallback(void *argument)
{
  /* USER CODE BEGIN NeedleInfoTimerCommunicationCallback */
	osSemaphoreRelease(NeedleInfoCommunicationSemaphoreHandle);
  /* USER CODE END NeedleInfoTimerCommunicationCallback */
}

/* IDLETimeTimerCallback function */
void IDLETimeTimerCallback(void *argument)
{
  /* USER CODE BEGIN IDLETimeTimerCallback */
	uint32_t IdleTime;
	IdleTime = (IdleTicks * 100) / 1000;
	IdleTicks = 0;
//	printf("IdleTime: %d\n\r",IdleTime);
  /* USER CODE END IDLETimeTimerCallback */
}

/* TemperatureInfoCommunicationTimerCallback function */
void TemperatureInfoCommunicationTimerCallback(void *argument)
{
  /* USER CODE BEGIN TemperatureInfoCommunicationTimerCallback */
	osSemaphoreRelease(TemperatureInfoCommunicationSemaphoreHandle);
  /* USER CODE END TemperatureInfoCommunicationTimerCallback */
}

/* USER CODE BEGIN Application */
//
// Printf function implementation
//
void _putchar(char character)
{
	osMutexAcquire(MutexPrintfHandle, osWaitForever);
	HAL_UART_Transmit(&huart3, (uint8_t*)&character, 1, 1000);
	osMutexRelease(MutexPrintfHandle);
}
//
// Communication interface
//
void HAL_UART_RxCpltCallback(UART_HandleTypeDef *huart){
	if(huart->Instance == USART3)
	{
		//
		// Start of handling message
		//
		HAL_GPIO_TogglePin(LD3_GPIO_Port, LD3_Pin);

		//
		// Handling the message
		//
		if(Buffor_Rx_USART[0] == 'N'){ // Needle set position
			uint16_t needle_set_point_change;
			char needle_set_point_change_str[3];
			// Convert to uint16_t
			needle_set_point_change_str[0] = Buffor_Rx_USART[1];
			needle_set_point_change_str[1] = Buffor_Rx_USART[2];
			needle_set_point_change_str[2] = Buffor_Rx_USART[3];
			needle_set_point_change =  (uint16_t)atoi(needle_set_point_change_str);
			// Send to queue
			osMessageQueuePut(QueueNeedleSetPointCommunicationHandle, &needle_set_point_change, 0, 0U);
		}else if (Buffor_Rx_USART[0] == 'S') { // Syringe set position
			uint16_t syringe_set_point_change;
			char syringe_set_point_change_str[3];
			// Convert to uint16_t
			syringe_set_point_change_str[0] = Buffor_Rx_USART[1];
			syringe_set_point_change_str[1] = Buffor_Rx_USART[2];
			syringe_set_point_change_str[2] = Buffor_Rx_USART[3];
			syringe_set_point_change =  (uint16_t)atoi(syringe_set_point_change_str);
			// Send to queue
			osMessageQueuePut(QueueSyringeSetPointCommunicationHandle, &syringe_set_point_change, 0, 0U);
		}else if (Buffor_Rx_USART[0] == 'T') { // Test connection
			printf("T");
		}else if (Buffor_Rx_USART[0] == 'O') { // Start ALL
			uint8_t permission = 1;
			osMessageQueuePut(QueueNeedlePermissionHandle, &permission, 0, 0U);
			osMessageQueuePut(QueueSyringePermissionHandle, &permission, 0, 0U);
			osMessageQueuePut(QueueCommunicationPermissionHandle, &permission, 0, 0U);
			osMessageQueuePut(QueueMotorStatusHandle,&permission, 0, 0U);
		}else if (Buffor_Rx_USART[0] == 'E') { // STOP ALL
			uint8_t permission = 0;
			osMessageQueuePut(QueueNeedlePermissionHandle, &permission, 0, 0U);
			osMessageQueuePut(QueueSyringePermissionHandle, &permission, 0, 0U);
			osMessageQueuePut(QueueCommunicationPermissionHandle, &permission, 0, 0U);
			osMessageQueuePut(QueueMotorStatusHandle,&permission, 0, 0U);
		}else if (Buffor_Rx_USART[0] == 'R') { // STOP communication
			uint8_t permission = 0;
			osMessageQueuePut(QueueCommunicationPermissionHandle, &permission, 0, 0U);
		}else if (Buffor_Rx_USART[0] == 'M') { // STOP motors
			uint8_t permission = 0;
			osMessageQueuePut(QueueNeedlePermissionHandle, &permission, 0, 0U);
			osMessageQueuePut(QueueSyringePermissionHandle, &permission, 0, 0U);
			osMessageQueuePut(QueueMotorStatusHandle,&permission, 0, 0U);
		}else if (Buffor_Rx_USART[0] == 'Q') { // Needle speed in rpm
			uint16_t Needle_speed_changed;
			char Needle_speed_changed_str[3];
			// Convert to uint16_t
			Needle_speed_changed_str[0] = Buffor_Rx_USART[1];
			Needle_speed_changed_str[1] = Buffor_Rx_USART[2];
			Needle_speed_changed_str[2] = Buffor_Rx_USART[3];
			Needle_speed_changed =  (uint16_t)atoi(Needle_speed_changed_str);
			// Send to queue
			osMessageQueuePut(QueueNeedleSpeedRPMHandle, &Needle_speed_changed, 0, 0U);
		}else if (Buffor_Rx_USART[0] == 'W') { // Syringe speed in rpm
			uint16_t Syringe_speed_changed;
			char Syringe_speed_changed_str[3];
			// Convert to uint16_t
			Syringe_speed_changed_str[0] = Buffor_Rx_USART[1];
			Syringe_speed_changed_str[1] = Buffor_Rx_USART[2];
			Syringe_speed_changed_str[2] = Buffor_Rx_USART[3];
			Syringe_speed_changed =  (uint16_t)atoi(Syringe_speed_changed_str);
			// Send to queue
			osMessageQueuePut(QueueSyringeSpeedRPMHandle, &Syringe_speed_changed, 0, 0U);
		}
		//
		// Listening setup
		//
		HAL_UART_Receive_IT(&huart3, Buffor_Rx_USART, 4);
	}
}
//
// Safety interlock (limit switch)
//
void HAL_GPIO_EXTI_Callback(uint16_t GPIO_Pin){
	if(GPIO_Pin == END_STOP_SYRINGE_1_Pin){ // END STOP Syringe Near Drive
		uint16_t syringe_set_point_change = 120; // TODO change the stop point
		osMessageQueuePut(QueueSyringeSetPointCommunicationHandle, &syringe_set_point_change, 0, 0U);
	}else if (GPIO_Pin == END_STOP_SYRINGE_2_Pin){ // END STOP Syringe Near Syringe
		uint16_t syringe_set_point_change = 20; // TODO change the stop point
		osMessageQueuePut(QueueSyringeSetPointCommunicationHandle, &syringe_set_point_change, 0, 0U);
	}else if(GPIO_Pin == END_STOP_NEEDLE_1_Pin){ // END STOP Needle Near Drive
		uint16_t needle_set_point_change = 120; // TODO change the stop point
		osMessageQueuePut(QueueNeedleSetPointCommunicationHandle, &needle_set_point_change, 0, 0U);
	}else if(GPIO_Pin == END_STOP_NEEDLE_2_Pin){ // END STOP Needle Near Needle
		uint16_t needle_set_point_change = 20; // TODO change the stop point
		osMessageQueuePut(QueueNeedleSetPointCommunicationHandle, &needle_set_point_change, 0, 0U);
	}
}
/* USER CODE END Application */
